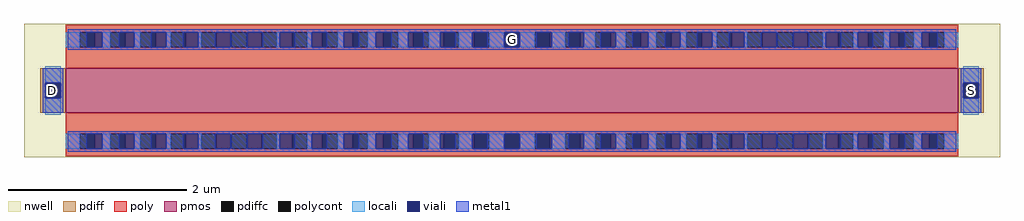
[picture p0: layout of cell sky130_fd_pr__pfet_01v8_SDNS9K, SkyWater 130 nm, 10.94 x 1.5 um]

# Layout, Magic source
magic
tech sky130A
magscale 1 2
<< nwell >>
rect -1094 -150 1094 150
<< pmos >>
rect -1000 -50 1000 50
<< pdiff >>
rect -1058 17 -1000 50
rect -1058 -17 -1046 17
rect -1012 -17 -1000 17
rect -1058 -50 -1000 -17
rect 1000 17 1058 50
rect 1000 -17 1012 17
rect 1046 -17 1058 17
rect 1000 -50 1058 -17
<< pdiffc >>
rect -1046 -17 -1012 17
rect 1012 -17 1046 17
<< poly >>
rect -1000 131 1000 147
rect -1000 97 -969 131
rect -935 97 -901 131
rect -867 97 -833 131
rect -799 97 -765 131
rect -731 97 -697 131
rect -663 97 -629 131
rect -595 97 -561 131
rect -527 97 -493 131
rect -459 97 -425 131
rect -391 97 -357 131
rect -323 97 -289 131
rect -255 97 -221 131
rect -187 97 -153 131
rect -119 97 -85 131
rect -51 97 -17 131
rect 17 97 51 131
rect 85 97 119 131
rect 153 97 187 131
rect 221 97 255 131
rect 289 97 323 131
rect 357 97 391 131
rect 425 97 459 131
rect 493 97 527 131
rect 561 97 595 131
rect 629 97 663 131
rect 697 97 731 131
rect 765 97 799 131
rect 833 97 867 131
rect 901 97 935 131
rect 969 97 1000 131
rect -1000 50 1000 97
rect -1000 -97 1000 -50
rect -1000 -131 -969 -97
rect -935 -131 -901 -97
rect -867 -131 -833 -97
rect -799 -131 -765 -97
rect -731 -131 -697 -97
rect -663 -131 -629 -97
rect -595 -131 -561 -97
rect -527 -131 -493 -97
rect -459 -131 -425 -97
rect -391 -131 -357 -97
rect -323 -131 -289 -97
rect -255 -131 -221 -97
rect -187 -131 -153 -97
rect -119 -131 -85 -97
rect -51 -131 -17 -97
rect 17 -131 51 -97
rect 85 -131 119 -97
rect 153 -131 187 -97
rect 221 -131 255 -97
rect 289 -131 323 -97
rect 357 -131 391 -97
rect 425 -131 459 -97
rect 493 -131 527 -97
rect 561 -131 595 -97
rect 629 -131 663 -97
rect 697 -131 731 -97
rect 765 -131 799 -97
rect 833 -131 867 -97
rect 901 -131 935 -97
rect 969 -131 1000 -97
rect -1000 -147 1000 -131
<< polycont >>
rect -969 97 -935 131
rect -901 97 -867 131
rect -833 97 -799 131
rect -765 97 -731 131
rect -697 97 -663 131
rect -629 97 -595 131
rect -561 97 -527 131
rect -493 97 -459 131
rect -425 97 -391 131
rect -357 97 -323 131
rect -289 97 -255 131
rect -221 97 -187 131
rect -153 97 -119 131
rect -85 97 -51 131
rect -17 97 17 131
rect 51 97 85 131
rect 119 97 153 131
rect 187 97 221 131
rect 255 97 289 131
rect 323 97 357 131
rect 391 97 425 131
rect 459 97 493 131
rect 527 97 561 131
rect 595 97 629 131
rect 663 97 697 131
rect 731 97 765 131
rect 799 97 833 131
rect 867 97 901 131
rect 935 97 969 131
rect -969 -131 -935 -97
rect -901 -131 -867 -97
rect -833 -131 -799 -97
rect -765 -131 -731 -97
rect -697 -131 -663 -97
rect -629 -131 -595 -97
rect -561 -131 -527 -97
rect -493 -131 -459 -97
rect -425 -131 -391 -97
rect -357 -131 -323 -97
rect -289 -131 -255 -97
rect -221 -131 -187 -97
rect -153 -131 -119 -97
rect -85 -131 -51 -97
rect -17 -131 17 -97
rect 51 -131 85 -97
rect 119 -131 153 -97
rect 187 -131 221 -97
rect 255 -131 289 -97
rect 323 -131 357 -97
rect 391 -131 425 -97
rect 459 -131 493 -97
rect 527 -131 561 -97
rect 595 -131 629 -97
rect 663 -131 697 -97
rect 731 -131 765 -97
rect 799 -131 833 -97
rect 867 -131 901 -97
rect 935 -131 969 -97
<< locali >>
rect -1000 97 -969 131
rect -919 97 -901 131
rect -847 97 -833 131
rect -775 97 -765 131
rect -703 97 -697 131
rect -631 97 -629 131
rect -595 97 -593 131
rect -527 97 -521 131
rect -459 97 -449 131
rect -391 97 -377 131
rect -323 97 -305 131
rect -255 97 -233 131
rect -187 97 -161 131
rect -119 97 -89 131
rect -51 97 -17 131
rect 17 97 51 131
rect 89 97 119 131
rect 161 97 187 131
rect 233 97 255 131
rect 305 97 323 131
rect 377 97 391 131
rect 449 97 459 131
rect 521 97 527 131
rect 593 97 595 131
rect 629 97 631 131
rect 697 97 703 131
rect 765 97 775 131
rect 833 97 847 131
rect 901 97 919 131
rect 969 97 1000 131
rect -1046 17 -1012 54
rect -1046 -54 -1012 -17
rect 1012 17 1046 54
rect 1012 -54 1046 -17
rect -1000 -131 -969 -97
rect -919 -131 -901 -97
rect -847 -131 -833 -97
rect -775 -131 -765 -97
rect -703 -131 -697 -97
rect -631 -131 -629 -97
rect -595 -131 -593 -97
rect -527 -131 -521 -97
rect -459 -131 -449 -97
rect -391 -131 -377 -97
rect -323 -131 -305 -97
rect -255 -131 -233 -97
rect -187 -131 -161 -97
rect -119 -131 -89 -97
rect -51 -131 -17 -97
rect 17 -131 51 -97
rect 89 -131 119 -97
rect 161 -131 187 -97
rect 233 -131 255 -97
rect 305 -131 323 -97
rect 377 -131 391 -97
rect 449 -131 459 -97
rect 521 -131 527 -97
rect 593 -131 595 -97
rect 629 -131 631 -97
rect 697 -131 703 -97
rect 765 -131 775 -97
rect 833 -131 847 -97
rect 901 -131 919 -97
rect 969 -131 1000 -97
<< viali >>
rect -953 97 -935 131
rect -935 97 -919 131
rect -881 97 -867 131
rect -867 97 -847 131
rect -809 97 -799 131
rect -799 97 -775 131
rect -737 97 -731 131
rect -731 97 -703 131
rect -665 97 -663 131
rect -663 97 -631 131
rect -593 97 -561 131
rect -561 97 -559 131
rect -521 97 -493 131
rect -493 97 -487 131
rect -449 97 -425 131
rect -425 97 -415 131
rect -377 97 -357 131
rect -357 97 -343 131
rect -305 97 -289 131
rect -289 97 -271 131
rect -233 97 -221 131
rect -221 97 -199 131
rect -161 97 -153 131
rect -153 97 -127 131
rect -89 97 -85 131
rect -85 97 -55 131
rect -17 97 17 131
rect 55 97 85 131
rect 85 97 89 131
rect 127 97 153 131
rect 153 97 161 131
rect 199 97 221 131
rect 221 97 233 131
rect 271 97 289 131
rect 289 97 305 131
rect 343 97 357 131
rect 357 97 377 131
rect 415 97 425 131
rect 425 97 449 131
rect 487 97 493 131
rect 493 97 521 131
rect 559 97 561 131
rect 561 97 593 131
rect 631 97 663 131
rect 663 97 665 131
rect 703 97 731 131
rect 731 97 737 131
rect 775 97 799 131
rect 799 97 809 131
rect 847 97 867 131
rect 867 97 881 131
rect 919 97 935 131
rect 935 97 953 131
rect -1046 -17 -1012 17
rect 1012 -17 1046 17
rect -953 -131 -935 -97
rect -935 -131 -919 -97
rect -881 -131 -867 -97
rect -867 -131 -847 -97
rect -809 -131 -799 -97
rect -799 -131 -775 -97
rect -737 -131 -731 -97
rect -731 -131 -703 -97
rect -665 -131 -663 -97
rect -663 -131 -631 -97
rect -593 -131 -561 -97
rect -561 -131 -559 -97
rect -521 -131 -493 -97
rect -493 -131 -487 -97
rect -449 -131 -425 -97
rect -425 -131 -415 -97
rect -377 -131 -357 -97
rect -357 -131 -343 -97
rect -305 -131 -289 -97
rect -289 -131 -271 -97
rect -233 -131 -221 -97
rect -221 -131 -199 -97
rect -161 -131 -153 -97
rect -153 -131 -127 -97
rect -89 -131 -85 -97
rect -85 -131 -55 -97
rect -17 -131 17 -97
rect 55 -131 85 -97
rect 85 -131 89 -97
rect 127 -131 153 -97
rect 153 -131 161 -97
rect 199 -131 221 -97
rect 221 -131 233 -97
rect 271 -131 289 -97
rect 289 -131 305 -97
rect 343 -131 357 -97
rect 357 -131 377 -97
rect 415 -131 425 -97
rect 425 -131 449 -97
rect 487 -131 493 -97
rect 493 -131 521 -97
rect 559 -131 561 -97
rect 561 -131 593 -97
rect 631 -131 663 -97
rect 663 -131 665 -97
rect 703 -131 731 -97
rect 731 -131 737 -97
rect 775 -131 799 -97
rect 799 -131 809 -97
rect 847 -131 867 -97
rect 867 -131 881 -97
rect 919 -131 935 -97
rect 935 -131 953 -97
<< metal1 >>
rect -996 131 996 137
rect -996 97 -953 131
rect -919 97 -881 131
rect -847 97 -809 131
rect -775 97 -737 131
rect -703 97 -665 131
rect -631 97 -593 131
rect -559 97 -521 131
rect -487 97 -449 131
rect -415 97 -377 131
rect -343 97 -305 131
rect -271 97 -233 131
rect -199 97 -161 131
rect -127 97 -89 131
rect -55 97 -17 131
rect 17 97 55 131
rect 89 97 127 131
rect 161 97 199 131
rect 233 97 271 131
rect 305 97 343 131
rect 377 97 415 131
rect 449 97 487 131
rect 521 97 559 131
rect 593 97 631 131
rect 665 97 703 131
rect 737 97 775 131
rect 809 97 847 131
rect 881 97 919 131
rect 953 97 996 131
rect -996 91 996 97
rect -1052 17 -1006 50
rect -1052 -17 -1046 17
rect -1012 -17 -1006 17
rect -1052 -50 -1006 -17
rect 1006 17 1052 50
rect 1006 -17 1012 17
rect 1046 -17 1052 17
rect 1006 -50 1052 -17
rect -996 -97 996 -91
rect -996 -131 -953 -97
rect -919 -131 -881 -97
rect -847 -131 -809 -97
rect -775 -131 -737 -97
rect -703 -131 -665 -97
rect -631 -131 -593 -97
rect -559 -131 -521 -97
rect -487 -131 -449 -97
rect -415 -131 -377 -97
rect -343 -131 -305 -97
rect -271 -131 -233 -97
rect -199 -131 -161 -97
rect -127 -131 -89 -97
rect -55 -131 -17 -97
rect 17 -131 55 -97
rect 89 -131 127 -97
rect 161 -131 199 -97
rect 233 -131 271 -97
rect 305 -131 343 -97
rect 377 -131 415 -97
rect 449 -131 487 -97
rect 521 -131 559 -97
rect 593 -131 631 -97
rect 665 -131 703 -97
rect 737 -131 775 -97
rect 809 -131 847 -97
rect 881 -131 919 -97
rect 953 -131 996 -97
rect -996 -137 996 -131
<< labels >>
rlabel locali s -1029 0 -1029 0 4 D
rlabel locali s 1029 0 1029 0 4 S
rlabel locali s 0 114 0 114 4 G
<< end >>
